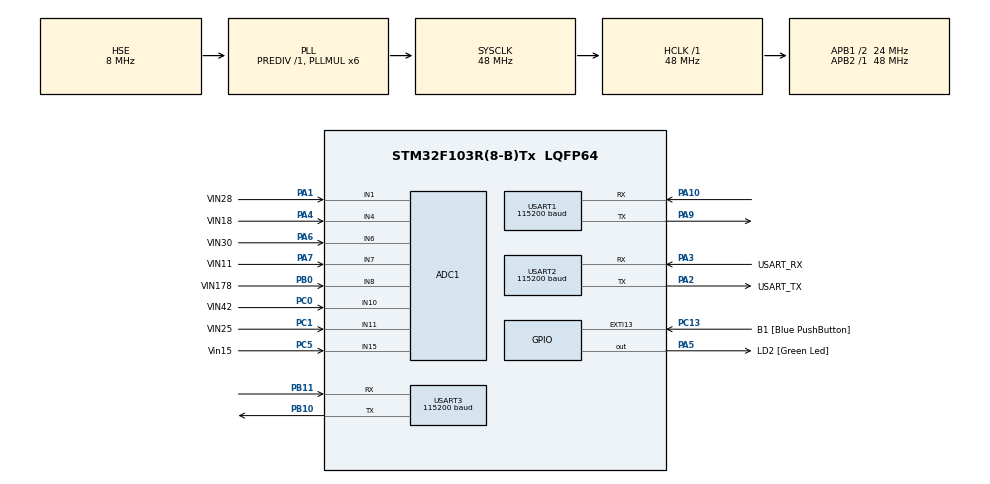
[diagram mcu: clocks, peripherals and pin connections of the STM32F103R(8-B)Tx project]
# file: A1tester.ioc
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ADC1.Channel-1\#ChannelRegularConversion=ADC_CHANNEL_1
ADC1.NbrOfConversionFlag=1
ADC1.Rank-1\#ChannelRegularConversion=1
ADC1.SamplingTime-1\#ChannelRegularConversion=ADC_SAMPLETIME_1CYCLE_5
ADC1.master=1
FREERTOS.Tasks01=testing,24,256,Test,Default,NULL,Dynamic,NULL,NULL;UARTcom,16,256,Uartcom,Default,NULL,Dynamic,NULL,NULL
FREERTOS.configUSE_NEWLIB_REENTRANT=1
Mcu.Family=STM32F1
Mcu.Name=STM32F103R(8-B)Tx
Mcu.Package=LQFP64
NVIC.EXTI15_10_IRQn=true\:5\:0\:false\:false\:true\:true\:true\:true\:true
NVIC.PriorityGroup=NVIC_PRIORITYGROUP_4
PA1.GPIO_Label=VIN28
PA1.Signal=ADCx_IN1
PA10.Mode=Asynchronous
PA10.Signal=USART1_RX
PA13.GPIO_Label=TMS
PA13.Mode=Serial_Wire
PA13.Signal=SYS_JTMS-SWDIO
PA14.GPIO_Label=TCK
PA14.Mode=Serial_Wire
PA14.Signal=SYS_JTCK-SWCLK
PA2.GPIO_Label=USART_TX
PA2.GPIO_Mode=GPIO_MODE_AF_PP
PA2.GPIO_PuPd=GPIO_NOPULL
PA2.GPIO_Speed=GPIO_SPEED_FREQ_LOW
PA2.Mode=Asynchronous
PA2.Signal=USART2_TX
PA3.GPIO_Label=USART_RX
PA3.GPIO_Mode=GPIO_MODE_AF_PP
PA3.GPIO_PuPd=GPIO_NOPULL
PA3.GPIO_Speed=GPIO_SPEED_FREQ_LOW
PA3.Mode=Asynchronous
PA3.Signal=USART2_RX
PA4.GPIO_Label=VIN18
PA4.Signal=ADCx_IN4
PA5.GPIO_Label=LD2 [Green Led]
PA5.GPIO_ModeDefaultOutputPP=GPIO_MODE_OUTPUT_PP
PA5.GPIO_PuPd=GPIO_NOPULL
PA5.GPIO_Speed=GPIO_SPEED_FREQ_LOW
PA5.Signal=GPIO_Output
PA6.GPIO_Label=VIN30
PA6.Signal=ADCx_IN6
PA7.GPIO_Label=VIN11
PA7.Signal=ADCx_IN7
PA9.Mode=Asynchronous
PA9.Signal=USART1_TX
PB0.GPIO_Label=VIN178
PB0.Signal=ADCx_IN8
PB10.Mode=Asynchronous
PB10.Signal=USART3_TX
PB11.Mode=Asynchronous
PB11.Signal=USART3_RX
PB3.GPIO_Label=SWO
PB3.Signal=SYS_JTDO-TRACESWO
PC0.GPIO_Label=VIN42
PC0.Signal=ADCx_IN10
PC1.GPIO_Label=VIN25
PC1.Signal=ADCx_IN11
PC13-TAMPER-RTC.GPIO_Label=B1 [Blue PushButton]
PC13-TAMPER-RTC.GPIO_PuPd=GPIO_NOPULL
PC13-TAMPER-RTC.Signal=GPXTI13
PC14-OSC32_IN.Mode=LSE-External-Oscillator
PC14-OSC32_IN.Signal=RCC_OSC32_IN
PC15-OSC32_OUT.Mode=LSE-External-Oscillator
PC15-OSC32_OUT.Signal=RCC_OSC32_OUT
PC5.GPIO_Label=Vin15
PC5.Signal=ADCx_IN15
PD0-OSC_IN.Mode=HSE-External-Clock-Source
PD0-OSC_IN.Signal=RCC_OSC_IN
PD1-OSC_OUT.Mode=HSE-External-Clock-Source
PD1-OSC_OUT.Signal=RCC_OSC_OUT
ProjectManager.HeapSize=0x200
ProjectManager.StackSize=0x400
ProjectManager.TargetToolchain=STM32CubeIDE
RCC.ADCPresc=RCC_ADCPCLK2_DIV4
RCC.AHBFreq_Value=48000000
RCC.APB1CLKDivider=RCC_HCLK_DIV2
RCC.APB1Freq_Value=24000000
RCC.APB1TimFreq_Value=48000000
RCC.APB2Freq_Value=48000000
RCC.APB2TimFreq_Value=48000000
RCC.HCLKFreq_Value=48000000
RCC.PLLMUL=RCC_PLL_MUL6
RCC.PLLSourceVirtual=RCC_PLLSOURCE_HSE
RCC.RTCClockSelection=RCC_RTCCLKSOURCE_LSE
RCC.SYSCLKFreq_VALUE=48000000
RCC.SYSCLKSource=RCC_SYSCLKSOURCE_PLLCLK
RCC.USBFreq_Value=48000000
SH.ADCx_IN1.0=ADC1_IN1,IN1
SH.ADCx_IN10.0=ADC1_IN10,IN10
SH.ADCx_IN11.0=ADC1_IN11,IN11
SH.ADCx_IN15.0=ADC1_IN15,IN15
SH.ADCx_IN4.0=ADC1_IN4,IN4
SH.ADCx_IN6.0=ADC1_IN6,IN6
SH.ADCx_IN7.0=ADC1_IN7,IN7
SH.ADCx_IN8.0=ADC1_IN8,IN8
USART1.BaudRate=115200
USART1.VirtualMode=VM_ASYNC
USART2.BaudRate=115200
USART2.VirtualMode=VM_ASYNC
USART3.BaudRate=115200
USART3.VirtualMode=VM_ASYNC
VP_FREERTOS_VS_CMSIS_V2.Mode=CMSIS_V2
board=NUCLEO-F103RB

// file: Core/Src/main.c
/* USER CODE BEGIN Header */
/**
  ******************************************************************************
  * @file           : main.c
  * @brief          : Main program body
  ******************************************************************************
  * @attention
  *
  * Copyright (c) 2024 STMicroelectronics.
  * All rights reserved.
  *
  * This software is licensed under terms that can be found in the LICENSE file
  * in the root directory of this software component.
  * If no LICENSE file comes with this software, it is provided AS-IS.
  *
  ******************************************************************************
  */
/* USER CODE END Header */
#include "main.h"
#include "cmsis_os.h"

/* USER CODE BEGIN Includes */
#include <string.h>
/* USER CODE END Includes */

ADC_HandleTypeDef hadc1;

UART_HandleTypeDef huart1;
UART_HandleTypeDef huart2;
UART_HandleTypeDef huart3;

/* Definitions for testing */
osThreadId_t testingHandle;
const osThreadAttr_t testing_attributes = {
  .name = "testing",
  .stack_size = 256 * 4,
  .priority = (osPriority_t) osPriorityNormal,
};
/* Definitions for UARTcom */
osThreadId_t UARTcomHandle;
const osThreadAttr_t UARTcom_attributes = {
  .name = "UARTcom",
  .stack_size = 256 * 4,
  .priority = (osPriority_t) osPriorityBelowNormal,
};
/* USER CODE BEGIN PV */
static uint8_t znakrx1[2024];
static uint8_t place=0;
uint8_t state=0;
struct VoltageLevels{
	char test[5];
	float level15;
	float level25;
	float level30;
	float level28;
	float level11;
	float level178;
	float level18;
	float level42;
};
typedef struct VoltageLevels VoltageLevels;

/* USER CODE END PV */

void SystemClock_Config(void);
static void MX_GPIO_Init(void);
static void MX_USART2_UART_Init(void);
static void MX_USART1_UART_Init(void);
static void MX_ADC1_Init(void);
static void MX_USART3_UART_Init(void);
void Test(void *argument);
void Uartcom(void *argument);

/* USER CODE BEGIN PFP */
#define PUTCHAR_PROTOTYPE int __io_putchar(int ch)
PUTCHAR_PROTOTYPE
{
  HAL_UART_Transmit(&huart2, (uint8_t *)&ch, 1, HAL_MAX_DELAY);
  return ch;
}

/* USER CODE END PFP */

/* USER CODE BEGIN 0 */
void ADC_SetActiveChannel(ADC_HandleTypeDef *hadc, uint32_t AdcChannel){
	ADC_ChannelConfTypeDef sConfig={0};
	sConfig.Channel=AdcChannel;
	sConfig.Rank=1;
	//sConfig.SamplingTime=ADC_SAMPLETIME_3CYCLES;
	if(HAL_ADC_ConfigChannel(hadc, &sConfig)!=HAL_OK){
		Error_Handler();
	}
}
float ADC_measure(uint32_t ADC_CHANNEL){
	ADC_SetActiveChannel(&hadc1, ADC_CHANNEL);
	HAL_ADC_Start(&hadc1);
	if(HAL_ADC_PollForConversion(&hadc1, 10)==HAL_OK){
		return HAL_ADC_GetValue(&hadc1);
	}else return 0;
}
void performTest(VoltageLevels *LevelsStruct){

	LevelsStruct->level11=ADC_measure(ADC_CHANNEL_7)*3.3/4095-0.35;
	LevelsStruct->level15=ADC_measure(ADC_CHANNEL_15)*2*3.3/4095;
	LevelsStruct->level178=ADC_measure(ADC_CHANNEL_8)*3.3/4095;
	LevelsStruct->level18=ADC_measure(ADC_CHANNEL_4)*3.3/4095;
	LevelsStruct->level25=ADC_measure(ADC_CHANNEL_11)*2*3.3/4095;
	LevelsStruct->level28=ADC_measure(ADC_CHANNEL_1)*3.3/4095;
	LevelsStruct->level30=ADC_measure(ADC_CHANNEL_6)*3.3/4095;
	LevelsStruct->level42=ADC_measure(ADC_CHANNEL_10)*3.3*2/4095;

}
void compare(VoltageLevels *comp, VoltageLevels *levels){
	printf("Test:");
	printf(levels->test);
	printf("\n");
	if((levels->level11<=1.1*comp->level11)&&(levels->level11>=0.95*comp->level11)){
		printf("1,1V ok\n");
	}
	else printf("1,1V error, value:%f\n",levels->level11);
	if((levels->level15<=1.05*comp->level15)&&(levels->level15>=0.95*comp->level15)){
			printf("1)5V ok\n");
		}
		else printf("1)5V error, value:%f\n",levels->level15);
	if((levels->level25<=1.05*comp->level25)&&(levels->level25>=0.95*comp->level25)){
			printf("2)5V ok\n");
		}
		else printf("2)5V error, value:%f\n",levels->level25);
	if((levels->level30<=1.05*comp->level30)&&(levels->level30>=0.95*comp->level30)){
			printf("3V ok\n");
		}
		else printf("3V error, value:%f\n",levels->level30);
	if((levels->level28<=1.05*comp->level28)&&(levels->level28>=0.95*comp->level28)){
			printf("2,8V ok\n");
		}
		else printf("2,8V error, value:%f\n",levels->level28);
	if((levels->level178<=1.05*comp->level178)&&(levels->level178>=0.95*comp->level178)){
			printf("1,78V ok\n");
		}
		else printf("1,78V error, value:%f\n",levels->level178);
	if((levels->level18<=1.05*comp->level18)&&(levels->level18>=0.95*comp->level18)){
			printf("1,8V ok\n");
		}
		else printf("1,8V error, value:%f\n",levels->level18);
	if((levels->level42<=1.05*comp->level42)&&(levels->level42>=0.95*comp->level42)){
			printf("4,2V ok\n");
		}
		else printf("4,2V error, value:%f\n",levels->level42);
	printf("*************************\n");
}
/* USER CODE END 0 */

int main(void)
{

  /* MCU Configuration--------------------------------------------------------*/

  /* Reset of all peripherals, Initializes the Flash interface and the Systick. */
  HAL_Init();

  /* Configure the system clock */
  SystemClock_Config();

  /* Initialize all configured peripherals */
  MX_GPIO_Init();
  MX_USART2_UART_Init();
  MX_USART1_UART_Init();
  MX_ADC1_Init();
  MX_USART3_UART_Init();

  /* Init scheduler */
  osKernelInitialize();

  /* Create the thread(s) */
  /* creation of testing */
  testingHandle = osThreadNew(Test, NULL, &testing_attributes);

  /* creation of UARTcom */
  UARTcomHandle = osThreadNew(Uartcom, NULL, &UARTcom_attributes);

  /* Start scheduler */
  osKernelStart();

  /* We should never get here as control is now taken by the scheduler */

  /* Infinite loop */
  while (1)
  {

  }
}

void SystemClock_Config(void)
{
  RCC_OscInitTypeDef RCC_OscInitStruct = {0};
  RCC_ClkInitTypeDef RCC_ClkInitStruct = {0};
  RCC_PeriphCLKInitTypeDef PeriphClkInit = {0};

  /** Initializes the RCC Oscillators according to the specified parameters
  * in the RCC_OscInitTypeDef structure.
  */
  RCC_OscInitStruct.OscillatorType = RCC_OSCILLATORTYPE_HSE;
  RCC_OscInitStruct.HSEState = RCC_HSE_BYPASS;
  RCC_OscInitStruct.HSEPredivValue = RCC_HSE_PREDIV_DIV1;
  RCC_OscInitStruct.HSIState = RCC_HSI_ON;
  RCC_OscInitStruct.PLL.PLLState = RCC_PLL_ON;
  RCC_OscInitStruct.PLL.PLLSource = RCC_PLLSOURCE_HSE;
  RCC_OscInitStruct.PLL.PLLMUL = RCC_PLL_MUL6;
  if (HAL_RCC_OscConfig(&RCC_OscInitStruct) != HAL_OK)
  {
    Error_Handler();
  }

  /** Initializes the CPU, AHB and APB buses clocks
  */
  RCC_ClkInitStruct.ClockType = RCC_CLOCKTYPE_HCLK|RCC_CLOCKTYPE_SYSCLK
                              |RCC_CLOCKTYPE_PCLK1|RCC_CLOCKTYPE_PCLK2;
  RCC_ClkInitStruct.SYSCLKSource = RCC_SYSCLKSOURCE_PLLCLK;
  RCC_ClkInitStruct.AHBCLKDivider = RCC_SYSCLK_DIV1;
  RCC_ClkInitStruct.APB1CLKDivider = RCC_HCLK_DIV2;
  RCC_ClkInitStruct.APB2CLKDivider = RCC_HCLK_DIV1;

  if (HAL_RCC_ClockConfig(&RCC_ClkInitStruct, FLASH_LATENCY_1) != HAL_OK)
  {
    Error_Handler();
  }
  PeriphClkInit.PeriphClockSelection = RCC_PERIPHCLK_ADC;
  PeriphClkInit.AdcClockSelection = RCC_ADCPCLK2_DIV4;
  if (HAL_RCCEx_PeriphCLKConfig(&PeriphClkInit) != HAL_OK)
  {
    Error_Handler();
  }
}

static void MX_ADC1_Init(void)
{

  ADC_ChannelConfTypeDef sConfig = {0};

  /** Common config
  */
  hadc1.Instance = ADC1;
  hadc1.Init.ScanConvMode = ADC_SCAN_DISABLE;
  hadc1.Init.ContinuousConvMode = DISABLE;
  hadc1.Init.DiscontinuousConvMode = DISABLE;
  hadc1.Init.ExternalTrigConv = ADC_SOFTWARE_START;
  hadc1.Init.DataAlign = ADC_DATAALIGN_RIGHT;
  hadc1.Init.NbrOfConversion = 1;
  if (HAL_ADC_Init(&hadc1) != HAL_OK)
  {
    Error_Handler();
  }

  /** Configure Regular Channel
  */
  sConfig.Channel = ADC_CHANNEL_1;
  sConfig.Rank = ADC_REGULAR_RANK_1;
  sConfig.SamplingTime = ADC_SAMPLETIME_1CYCLE_5;
  if (HAL_ADC_ConfigChannel(&hadc1, &sConfig) != HAL_OK)
  {
    Error_Handler();
  }

}

static void MX_USART1_UART_Init(void)
{

  huart1.Instance = USART1;
  huart1.Init.BaudRate = 115200;
  huart1.Init.WordLength = UART_WORDLENGTH_8B;
  huart1.Init.StopBits = UART_STOPBITS_1;
  huart1.Init.Parity = UART_PARITY_NONE;
  huart1.Init.Mode = UART_MODE_TX_RX;
  huart1.Init.HwFlowCtl = UART_HWCONTROL_NONE;
  huart1.Init.OverSampling = UART_OVERSAMPLING_16;
  if (HAL_UART_Init(&huart1) != HAL_OK)
  {
    Error_Handler();
  }

}

static void MX_USART2_UART_Init(void)
{

  huart2.Instance = USART2;
  huart2.Init.BaudRate = 115200;
  huart2.Init.WordLength = UART_WORDLENGTH_8B;
  huart2.Init.StopBits = UART_STOPBITS_1;
  huart2.Init.Parity = UART_PARITY_NONE;
  huart2.Init.Mode = UART_MODE_TX_RX;
  huart2.Init.HwFlowCtl = UART_HWCONTROL_NONE;
  huart2.Init.OverSampling = UART_OVERSAMPLING_16;
  if (HAL_UART_Init(&huart2) != HAL_OK)
  {
    Error_Handler();
  }

}

static void MX_USART3_UART_Init(void)
{

  huart3.Instance = USART3;
  huart3.Init.BaudRate = 9600;
  huart3.Init.WordLength = UART_WORDLENGTH_8B;
  huart3.Init.StopBits = UART_STOPBITS_1;
  huart3.Init.Parity = UART_PARITY_NONE;
  huart3.Init.Mode = UART_MODE_TX_RX;
  huart3.Init.HwFlowCtl = UART_HWCONTROL_NONE;
  huart3.Init.OverSampling = UART_OVERSAMPLING_16;
  if (HAL_UART_Init(&huart3) != HAL_OK)
  {
    Error_Handler();
  }

}

static void MX_GPIO_Init(void)
{
  GPIO_InitTypeDef GPIO_InitStruct = {0};

  /* GPIO Ports Clock Enable */
  __HAL_RCC_GPIOC_CLK_ENABLE();
  __HAL_RCC_GPIOD_CLK_ENABLE();
  __HAL_RCC_GPIOA_CLK_ENABLE();
  __HAL_RCC_GPIOB_CLK_ENABLE();

  /*Configure GPIO pin Output Level */
  HAL_GPIO_WritePin(LD2_GPIO_Port, LD2_Pin, GPIO_PIN_RESET);

  /*Configure GPIO pin : B1_Pin */
  GPIO_InitStruct.Pin = B1_Pin;
  GPIO_InitStruct.Mode = GPIO_MODE_IT_RISING;
  GPIO_InitStruct.Pull = GPIO_NOPULL;
  HAL_GPIO_Init(B1_GPIO_Port, &GPIO_InitStruct);

  /*Configure GPIO pin : LD2_Pin */
  GPIO_InitStruct.Pin = LD2_Pin;
  GPIO_InitStruct.Mode = GPIO_MODE_OUTPUT_PP;
  GPIO_InitStruct.Pull = GPIO_NOPULL;
  GPIO_InitStruct.Speed = GPIO_SPEED_FREQ_LOW;
  HAL_GPIO_Init(LD2_GPIO_Port, &GPIO_InitStruct);

  /* EXTI interrupt init*/
  HAL_NVIC_SetPriority(EXTI15_10_IRQn, 5, 0);
  HAL_NVIC_EnableIRQ(EXTI15_10_IRQn);

}

/* USER CODE BEGIN 4 */
void HAL_UART_RxCpltCallback(UART_HandleTypeDef *huart){
	if(huart->Instance == USART1){
		HAL_UART_Transmit_IT(&huart2, &znakrx1, 1);
	}
}
/* USER CODE END 4 */

void Test(void *argument)
{
  /* USER CODE BEGIN 5 */
	VoltageLevels toComp;
	strcpy(toComp.test,"com");
	toComp.level11=1.1;
	toComp.level15=5.0;
	toComp.level25=5.0;
	toComp.level30=3.0;
	toComp.level28=2.8;
	toComp.level178=1.78;
	toComp.level18=1.8;
	toComp.level42=4.2;
	VoltageLevels levels45;
	strcpy(levels45.test,"4,5");
	VoltageLevels levels5;
	strcpy(levels5.test,"5");
	VoltageLevels levels6;
	strcpy(levels6.test,"6");
	VoltageLevels levels7;
	strcpy(levels7.test,"7");
	VoltageLevels levels8;
	strcpy(levels8.test,"8");
	VoltageLevels levels9;
	strcpy(levels9.test,"9");
	VoltageLevels levels10;
	strcpy(levels10.test,"10");
	VoltageLevels levels11;
	strcpy(levels11.test,"11");
	VoltageLevels levels12;
	strcpy(levels12.test,"12");
	VoltageLevels levels13;
	strcpy(levels13.test,"13");
	VoltageLevels levels14;
	strcpy(levels14.test,"14");
	VoltageLevels levels15;
	strcpy(levels15.test,"15");
	VoltageLevels levels16;
	strcpy(levels16.test,"16");
	VoltageLevels levels17;
	strcpy(levels17.test,"17");
	VoltageLevels levels175;
	strcpy(levels175.test,"17,5");
	VoltageLevels levels18;
	strcpy(levels18.test,"18");

  HAL_ADC_Start(&hadc1);
  /* Infinite loop */

  while(1){

	  if(state==0){
		  HAL_UART_Transmit(&huart3, (uint8_t *)"<09100000000>", 13, HAL_MAX_DELAY);
		  //CDC_Transmit_FS("<09100000000>",13);
		  osDelay(50);

		  HAL_UART_Transmit(&huart3, (uint8_t *)"<01004580000>", 13, HAL_MAX_DELAY);
		  //CDC_Transmit_FS("<01004580000>", 13);
		  osDelay(50);

		  HAL_UART_Transmit(&huart3, (uint8_t *)"<03006920000>", 13, HAL_MAX_DELAY);
		  //CDC_Transmit_FS("<03006920001>",13);
		  osDelay(50);

		  ++state;

	  }
  else{

	  //CDC_Transmit_FS("<01004500001>",13);
	  HAL_UART_Transmit(&huart3, (uint8_t *)"<01004500001>", 13, HAL_MAX_DELAY);
	  osDelay(1000);
	  performTest(&levels45);

	  //CDC_Transmit_FS("<01005000001>",13);
	  HAL_UART_Transmit(&huart3, (uint8_t *)"<01005000001>", 13, HAL_MAX_DELAY);
	  	  osDelay(1000);
	  performTest(&levels5);

	  //CDC_Transmit_FS("<01006000001>",13);
	  HAL_UART_Transmit(&huart3, (uint8_t *)"<01006000001>", 13, HAL_MAX_DELAY);
	  	  osDelay(1000);
	  performTest(&levels6);

	  //CDC_Transmit_FS("<01007000001>",13);
	  HAL_UART_Transmit(&huart3, (uint8_t *)"<01007000001>", 13, HAL_MAX_DELAY);
	  	  osDelay(1000);
	  performTest(&levels7);

	  //CDC_Transmit_FS("<01008000001>",13);
	  HAL_UART_Transmit(&huart3, (uint8_t *)"<01008000001>", 13, HAL_MAX_DELAY);
	  	  osDelay(1000);
	  performTest(&levels8);

	  //CDC_Transmit_FS("<01009000001>",13);
	  HAL_UART_Transmit(&huart3, (uint8_t *)"<01009000001>", 13, HAL_MAX_DELAY);
	  	  osDelay(1000);
	  performTest(&levels9);

	  //CDC_Transmit_FS("<01010000001>",13);
	  HAL_UART_Transmit(&huart3, (uint8_t *)"<01010000001>", 13, HAL_MAX_DELAY);
	  	  osDelay(1000);
	  performTest(&levels10);

	  //CDC_Transmit_FS("<01011000001>",13);
	  HAL_UART_Transmit(&huart3, (uint8_t *)"<01011000001>", 13, HAL_MAX_DELAY);
	  	  	  osDelay(1000);
	  performTest(&levels11);

	  //CDC_Transmit_FS("<01012000001>",13);
	  HAL_UART_Transmit(&huart3, (uint8_t *)"<01012000001>", 13, HAL_MAX_DELAY);
	  	  	  osDelay(1000);
	  performTest(&levels12);

	  //CDC_Transmit_FS("<01013000001>",13);
	  HAL_UART_Transmit(&huart3, (uint8_t *)"<01013000001>", 13, HAL_MAX_DELAY);
	  	  	  osDelay(1000);
	  performTest(&levels13);

	  //CDC_Transmit_FS("<01014000001>",13);
	  HAL_UART_Transmit(&huart3, (uint8_t *)"<01014000001>", 13, HAL_MAX_DELAY);
	  	  	  osDelay(1000);
	  performTest(&levels14);

	  //CDC_Transmit_FS("<01015000001>",13);
	  HAL_UART_Transmit(&huart3, (uint8_t *)"<01015000001>", 13, HAL_MAX_DELAY);
	  	  	  osDelay(1000);
	  performTest(&levels15);

	  //CDC_Transmit_FS("<01016000001>",13);
	  HAL_UART_Transmit(&huart3, (uint8_t *)"<01016000001>", 13, HAL_MAX_DELAY);
	  	  	  osDelay(1000);
	  performTest(&levels16);

	  //CDC_Transmit_FS("<01017000001>",13);
	  HAL_UART_Transmit(&huart3, (uint8_t *)"<01017000001>", 13, HAL_MAX_DELAY);
	  	  	  osDelay(1000);
	  performTest(&levels17);

	  //CDC_Transmit_FS("<01017500001>",13);
	  HAL_UART_Transmit(&huart3, (uint8_t *)"<01017500001>", 13, HAL_MAX_DELAY);
	  	  	  osDelay(1000);
	  performTest(&levels175);

	  //CDC_Transmit_FS("<01018000001>",13);
	  HAL_UART_Transmit(&huart3, (uint8_t *)"<01018000001>", 13, HAL_MAX_DELAY);
	  	  	  osDelay(1000);
	  performTest(&levels18);

	  	  osDelay(20000);
	  compare(&toComp,&levels45);
	  compare(&toComp,&levels5);
	  compare(&toComp,&levels6);
	  compare(&toComp,&levels7);
	  compare(&toComp,&levels8);
	  compare(&toComp,&levels9);
	  compare(&toComp,&levels10);
	  compare(&toComp,&levels11);
	  compare(&toComp,&levels12);
	  compare(&toComp,&levels13);
	  compare(&toComp,&levels14);
	  compare(&toComp,&levels15);
	  compare(&toComp,&levels16);
	  compare(&toComp,&levels17);
	  compare(&toComp,&levels175);
	  HAL_UART_Transmit(&huart2, "somUART\n", 8, HAL_MAX_DELAY);
	  HAL_UART_Transmit(&huart2, &znakrx1, sizeof(znakrx1), HAL_MAX_DELAY);
	  printf(znakrx1);
	  HAL_UART_Transmit(&huart2, "\n", 1, HAL_MAX_DELAY);
	  HAL_UART_Transmit(&huart2, "END\n", 4, HAL_MAX_DELAY);

 }
  }
  /* USER CODE END 5 */
}

void Uartcom(void *argument)
{
  /* USER CODE BEGIN Uartcom */
  /* Infinite loop */
  for(;;)
  {

    HAL_UART_Receive(&huart3, &znakrx1[place],1,0xFFFF);
    ++place;

    //HAL_UART_Transmit(&huart2, &znakrx1, sizeof(znakrx1), HAL_MAX_DELAY);
  }
  /* USER CODE END Uartcom */
}

void Error_Handler(void)
{
  __disable_irq();
  while (1)
  {
  }
}
